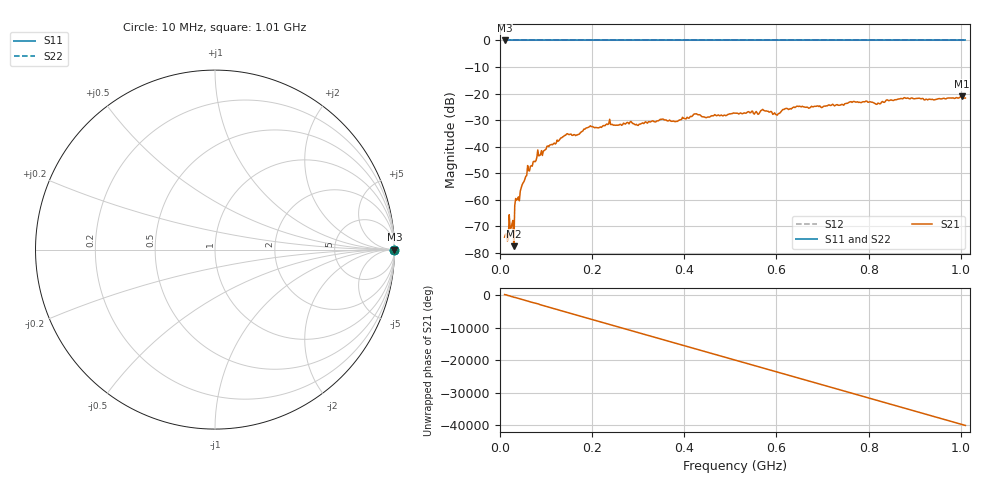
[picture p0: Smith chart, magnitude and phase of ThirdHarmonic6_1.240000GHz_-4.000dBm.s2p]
! 8/16/2025 1:09:46 PM
! C:\ANRITSUVNA\TEMP\TEMP.S2P
! CHANNEL.1
! TR.MEASUREMENT
! RAW.DATA
! RF.CORRECTION.OFF
! AVERAGING.OFF
! IF.BANDWIDTH: 5KHZ
! SWEEPTYPE:  FREQ.SWEEP(Linear)
! Reference Plane Port Info
! PORT:  PORT1  PORT2
! DISTANCE:  0  m  0  m
! TIME:  0  s  0  s
! PHASE.OFFSET:  0  deg.  0  deg.
! LOSS:  0  dB  0  dB
! REF.LOSS:  0  dB  0  dB
! REF.FREQ:  0  Hz  0  Hz
! Power Info
! POWER:  -20  dBm  -20  dBm
! EFF.POWER:  -20  dBm  -20  dBm
! SOURCE.ATTEN:  0  dB  0  dB
! TEST.ATTEN:  0  dB  0  dB
# GHZ S RI R 50.0
! FREQ.GHZ  S11RE  S11IM  S21RE  S21IM  S12RE  S12IM  S22RE  S22IM
!; PortSelection: Port_12
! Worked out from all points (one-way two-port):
!   501 points, 10 MHz to 1.01 GHz, reference 50 ohm
!   highest |S21| = -21.07 dB at 1.002 GHz (marker M1); lowest = -77.4 dB at 30 MHz (marker M2)
!   lowest |S11| = 0.0 dB at 10 MHz (marker M3)
!   |S11| at or under -10 dB: nowhere
!   |S22| runs from 0.0 to 0.0 dB; largest |S21 - S12| = 1.1
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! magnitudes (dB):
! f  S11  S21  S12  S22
! 10 MHz  0.0  -74.0  0.0  0.0
! 14 MHz  0.0  -72.7  0.0  0.0
! 24 MHz  0.0  -70.7  0.0  0.0
! 26 MHz  0.0  -69.0  0.0  0.0
! 30 MHz  0.0  -77.4  0.0  0.0
! 34 MHz  0.0  -59.5  0.0  0.0
! 36 MHz  0.0  -60.1  0.0  0.0
! 56 MHz  0.0  -51.1  0.0  0.0
! 86 MHz  0.0  -43.3  0.0  0.0
! 142 MHz  0.0  -35.7  0.0  0.0
! 178 MHz  0.0  -34.3  0.0  0.0
! 234 MHz  0.0  -31.6  0.0  0.0
! 296 MHz  0.0  -31.6  0.0  0.0
! 344 MHz  0.0  -30.2  0.0  0.0
! 510 MHz  0.0  -27.4  0.0  0.0
! 570 MHz  0.0  -25.9  0.0  0.0
! 602 MHz  0.0  -28.1  0.0  0.0
! 618 MHz  0.0  -25.7  0.0  0.0
! 678 MHz  0.0  -24.9  0.0  0.0
! 844 MHz  0.0  -22.7  0.0  0.0
! 1.002 GHz  0.0  -21.1  0.0  0.0
! 1.01 GHz  0.0  -21.7  0.0  0.0
